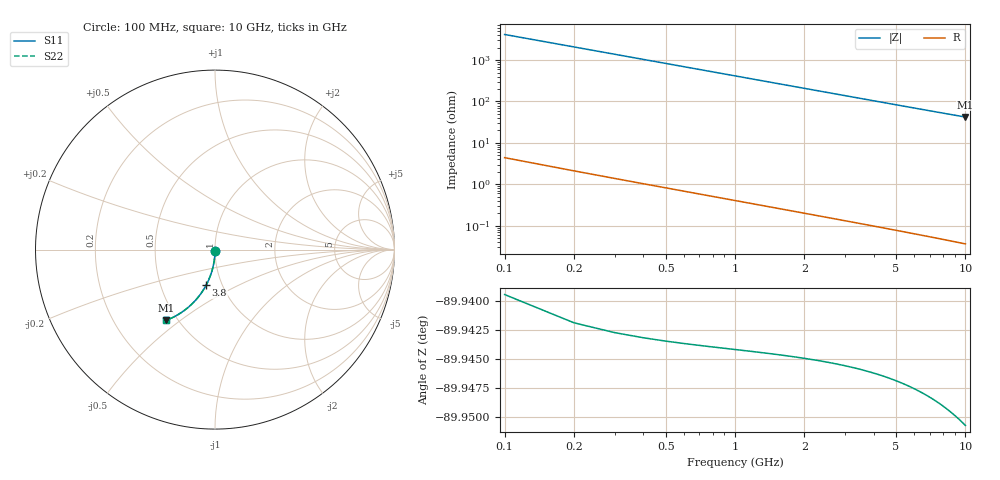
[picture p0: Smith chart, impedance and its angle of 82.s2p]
# Hz S RI R 50.00
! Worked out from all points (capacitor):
!   100 points, 100 MHz to 10 GHz, reference 50 ohm
!   read as one part in shunt: C = 383 fF near 100 MHz
!   lowest |Z| = 42.1 ohm at 10 GHz (marker M1)
!   S11 on the Smith chart (normalised r, x): 100 MHz: 1.00, -0.01; 3.8 GHz: 0.84, -0.35; 10 GHz: 0.44, -0.44
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1e8  0.000158 -0.0055  0.9998 -0.00652  0.9998 -0.00652  0.000158 -0.0055
2e8  4.59e-05 -0.011  0.9996 -0.013  0.9996 -0.013  4.59e-05 -0.011
3e8  -0.000138 -0.0165  0.9995 -0.0196  0.9995 -0.0196  -0.000138 -0.0165
4e8  -0.000394 -0.022  0.9992 -0.0261  0.9992 -0.0261  -0.000394 -0.022
5e8  -0.000722 -0.0275  0.9989 -0.0326  0.9989 -0.0326  -0.000722 -0.0275
6e8  -0.00112 -0.033  0.9985 -0.0391  0.9985 -0.0391  -0.00112 -0.033
7e8  -0.00159 -0.0385  0.998 -0.0456  0.998 -0.0456  -0.00159 -0.0385
8e8  -0.00213 -0.0439  0.9974 -0.0521  0.9974 -0.0521  -0.00213 -0.0439
9e8  -0.00275 -0.0494  0.9968 -0.0586  0.9968 -0.0586  -0.00275 -0.0494
1.1e9  -0.00418 -0.0603  0.9953 -0.0715  0.9953 -0.0715  -0.00418 -0.0603
1.4e9  -0.00687 -0.0765  0.9926 -0.0908  0.9926 -0.0908  -0.00687 -0.0765
1.8e9  -0.0114 -0.0979  0.988 -0.1162  0.988 -0.1162  -0.0114 -0.0979
2.1e9  -0.0155 -0.1137  0.9838 -0.1351  0.9838 -0.1351  -0.0155 -0.1137
2.5e9  -0.0219 -0.1345  0.9773 -0.16  0.9773 -0.16  -0.0219 -0.1345
2.9e9  -0.0294 -0.1547  0.9698 -0.1844  0.9698 -0.1844  -0.0294 -0.1547
3.4e9  -0.04 -0.1794  0.9589 -0.2141  0.9589 -0.2141  -0.04 -0.1794
3.8e9  -0.0496 -0.1984  0.9492 -0.2372  0.9492 -0.2372  -0.0496 -0.1984
4.4e9  -0.0655 -0.2257  0.933 -0.2707  0.933 -0.2707  -0.0655 -0.2257
5.1e9  -0.0863 -0.2555  0.9119 -0.3077  0.9119 -0.3077  -0.0863 -0.2555
6.7e9  -0.1408 -0.3144  0.8563 -0.3832  0.8563 -0.3832  -0.1408 -0.3144
8.4e9  -0.206 -0.3621  0.7898 -0.4488  0.7898 -0.4488  -0.206 -0.3621
1e10  -0.2702 -0.3932  0.7239 -0.4969  0.7239 -0.4969  -0.2702 -0.3932
